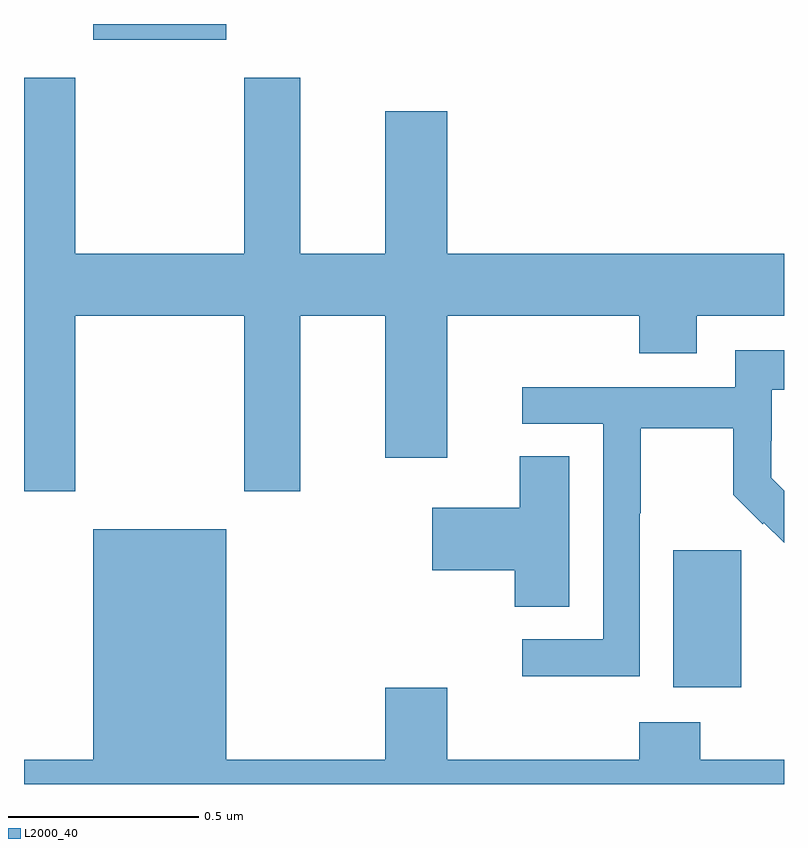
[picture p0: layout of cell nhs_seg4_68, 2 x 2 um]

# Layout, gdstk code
import gdstk
lib = gdstk.Library(unit=1e-6, precision=1e-09)
def R(c, l, rs):  # rectangles x0, y0, x1, y1
    for r in rs: c.add(gdstk.rectangle(r[:2], r[2:], *l))
def P(c, l, *ps):  # polygons
    for p in ps: c.add(gdstk.Polygon(p, *l))
L2000_40 = (2000, 40)

nhs_seg4_68 = lib.new_cell('nhs_seg4_68')
R(nhs_seg4_68, L2000_40, [(112.709,817.154,112.888,817.515), (111.182,818.858,111.532,818.9)])
P(nhs_seg4_68, L2000_40, [(111.135,818.132),(111.58,818.132),(111.58,817.671),(111.727,817.671),(111.727,818.132),(111.95,818.132),(111.95,817.758),(112.114,817.758),(112.114,818.132),(112.619,818.132),(112.619,818.033),(112.771,818.033),(112.771,818.132),(113,818.132),(113,818.296),(112.114,818.296),(112.114,818.671),(111.95,818.671),(111.95,818.296),(111.727,818.296),(111.727,818.758),(111.58,818.758),(111.58,818.296),(111.135,818.296),(111.135,818.758),(111,818.758),(111,817.671),(111.135,817.671)],
  [(112.62,817.612),(112.623,817.612),(112.623,817.836),(112.867,817.836),(112.867,817.661),(112.944,817.584),(112.947,817.587),(113,817.535),(113,817.672),(112.966,817.706),(112.966,817.803),(112.968,817.803),(112.968,817.937),(113,817.937),(113,818.041),(112.872,818.041),(112.872,817.944),(112.311,817.944),(112.311,817.848),(112.524,817.848),(112.524,817.281),(112.311,817.281),(112.311,817.183),(112.62,817.183)],
  [(112.435,817.763),(112.304,817.763),(112.304,817.627),(112.074,817.627),(112.074,817.462),(112.292,817.462),(112.292,817.366),(112.435,817.366)],
  [(113,816.964),(112.779,816.964),(112.779,817.063),(112.619,817.063),(112.619,816.964),(112.114,816.964),(112.114,817.153),(111.95,817.153),(111.95,816.964),(111.532,816.964),(111.532,817.57),(111.182,817.57),(111.182,816.964),(111,816.964),(111,816.9),(113,816.9)])

lib.write_gds('nhs_seg4_68.gds')
